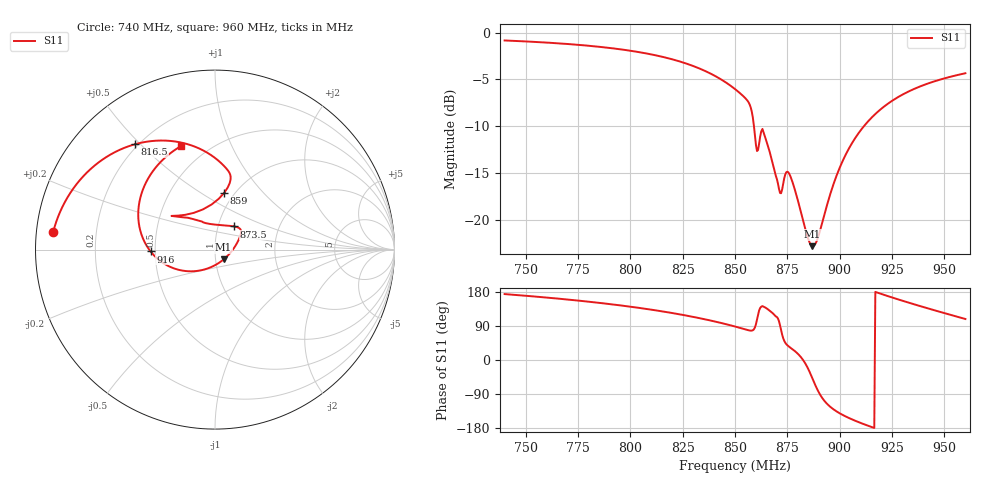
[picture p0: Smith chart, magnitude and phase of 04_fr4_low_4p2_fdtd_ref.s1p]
! ISAC_868 Rev E.5 3D-FDTD Reference S11 at /BR_Q (4_Enclosed_FR4_Low_er4p2)
! Reference plane: /BR_Q (includes C_M1=3.6p, L_M1=8.2n||C_MZ=0.5p, C_M2=4.3p elliptic Pi-filter)
! Unloaded AE1 f0 = 879.0 MHz | Standalone |S11(866.5)| = -10.01 dB | Cascaded |S11(866.5)| = -12.67 dB
# GHz S RI R 50.0
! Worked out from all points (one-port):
!   442 points, 740 MHz to 960 MHz, reference 50 ohm
!   lowest |S11| = -22.8 dB at 887 MHz (marker M1), VSWR 1.16, Z = 54.7 - j6.03 ohm
!   |S11| at or under -10 dB: 859.1 MHz to 911.5 MHz (52.42 MHz wide, 5.92 % of centre)
!   S11 on the Smith chart (normalised r, x): 740 MHz: 0.05, +0.05; 816.5 MHz: 0.19, +0.48; 859 MHz: 0.90, +0.63; 873.5 MHz: 1.19, +0.32; 916 MHz: 0.47, -0.01; 960 MHz: 0.36, +0.66
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0.74  -0.9024 0.0954
0.7675  -0.8253 0.2847
0.795  -0.6616 0.4756
0.8165  -0.4458 0.587
0.8225  -0.3703 0.6026
0.837  -0.1673 0.5913
0.85  0.0139 0.4997
0.8565  0.0853 0.4157
0.858  0.0819 0.3705
0.859  0.0514 0.3165
0.8605  -0.0677 0.2237
0.862  -0.2039 0.1895
0.8631  -0.2423 0.1877
0.871  -0.0312 0.1434
0.872  0.0265 0.1367
0.8735  0.106 0.1293
0.875  0.1411 0.1139
0.8775  0.1402 0.0752
0.8845  0.0781 -0.0261
0.887  0.0477 -0.0549
0.8895  0.0139 -0.0789
0.896  -0.0842 -0.1165
0.905  -0.2238 -0.1063
0.916  -0.359 -0.0102
0.9245  -0.416 0.1048
0.9325  -0.4264 0.2265
0.945  -0.3639 0.4105
0.96  -0.1897 0.5765
